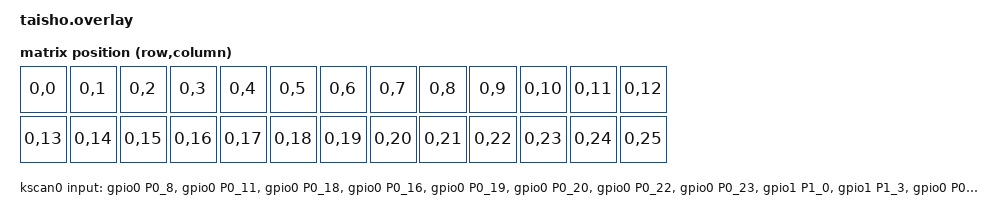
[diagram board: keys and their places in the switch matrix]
/* * Copyright (c) 2020 The ZMK Contributors
 * SPDX-License-Identifier: MIT
 */

#include <dt-bindings/zmk/matrix_transform.h>

/ {
    chosen {
        zmk,kscan = &kscan0;
        zmk,matrix_transform = &default_transform;
    };

    default_transform: matrix_transform {
        compatible = "zmk,matrix-transform";
        rows = <1>;
        cols = <26>;
        map = <
            RC(0,0) RC(0,1) RC(0,2) RC(0,3) RC(0,4) RC(0,5) RC(0,6) RC(0,7) RC(0,8) RC(0,9) RC(0,10) RC(0,11) RC(0,12)
            RC(0,13) RC(0,14) RC(0,15) RC(0,16) RC(0,17) RC(0,18) RC(0,19) RC(0,20) RC(0,21) RC(0,22) RC(0,23) RC(0,24) RC(0,25)
        >;
    };

    kscan0: kscan {
        compatible = "zmk,kscan-gpio-direct";
        diode-direction = "col2row";
        
        input-gpios = <
            // 26個のキーに対応するピンを記述
            &gpio0 P0_8 GPIO_ACTIVE_HIGH
            &gpio0 P0_11 GPIO_ACTIVE_HIGH
            &gpio0 P0_18 GPIO_ACTIVE_HIGH
            &gpio0 P0_16 GPIO_ACTIVE_HIGH
            &gpio0 P0_19 GPIO_ACTIVE_HIGH
            &gpio0 P0_20 GPIO_ACTIVE_HIGH
            &gpio0 P0_22 GPIO_ACTIVE_HIGH
            &gpio0 P0_23 GPIO_ACTIVE_HIGH
            &gpio1 P1_0 GPIO_ACTIVE_HIGH
            &gpio1 P1_3 GPIO_ACTIVE_HIGH
            &gpio0 P0_9 GPIO_ACTIVE_HIGH
            &gpio0 P0_10 GPIO_ACTIVE_HIGH
            &gpio1 P1_15 GPIO_ACTIVE_HIGH
            &gpio1 P1_14 GPIO_ACTIVE_HIGH
            &gpio0 P0_3 GPIO_ACTIVE_HIGH
            &gpio0 P0_30 GPIO_ACTIVE_HIGH
            &gpio0 P0_0 GPIO_ACTIVE_HIGH
            &gpio0 P0_5 GPIO_ACTIVE_HIGH
            &gpio0 P0_17 GPIO_ACTIVE_HIGH
            &gpio0 P0_21 GPIO_ACTIVE_HIGH
            &gpio0 P0_24 GPIO_ACTIVE_HIGH
            &gpio1 P1_2 GPIO_ACTIVE_HIGH
            &gpio1 P1_10 GPIO_ACTIVE_HIGH
            &gpio1 P1_11 GPIO_ACTIVE_HIGH
            &gpio0 P0_29 GPIO_ACTIVE_HIGH
            &gpio0 P0_31 GPIO_ACTIVE_HIGH
        >;
    };
};
